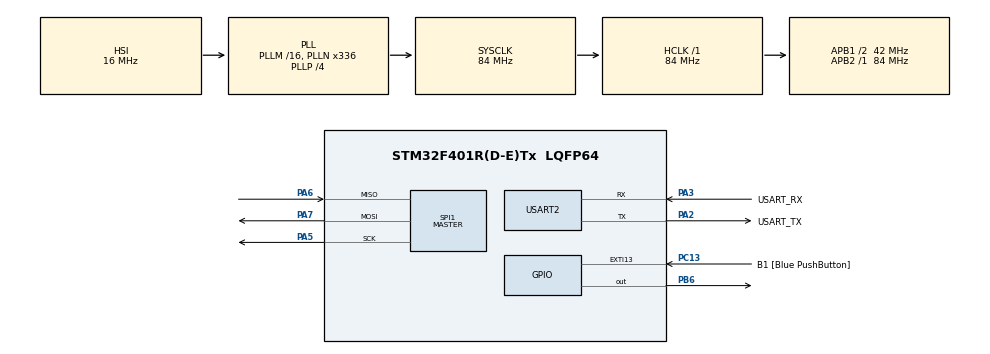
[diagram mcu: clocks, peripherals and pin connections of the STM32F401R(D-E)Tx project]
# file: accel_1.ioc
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Mcu.Family=STM32F4
Mcu.Name=STM32F401R(D-E)Tx
Mcu.Package=LQFP64
NVIC.PriorityGroup=NVIC_PRIORITYGROUP_0
PA13.GPIO_Label=TMS
PA13.Mode=Serial_Wire
PA13.Signal=SYS_JTMS-SWDIO
PA14.GPIO_Label=TCK
PA14.Mode=Serial_Wire
PA14.Signal=SYS_JTCK-SWCLK
PA2.GPIO_Label=USART_TX
PA2.GPIO_Mode=GPIO_MODE_AF_PP
PA2.GPIO_PuPd=GPIO_NOPULL
PA2.GPIO_Speed=GPIO_SPEED_FREQ_LOW
PA2.Mode=Asynchronous
PA2.Signal=USART2_TX
PA3.GPIO_Label=USART_RX
PA3.GPIO_Mode=GPIO_MODE_AF_PP
PA3.GPIO_PuPd=GPIO_NOPULL
PA3.GPIO_Speed=GPIO_SPEED_FREQ_LOW
PA3.Mode=Asynchronous
PA3.Signal=USART2_RX
PA5.Mode=Full_Duplex_Master
PA5.Signal=SPI1_SCK
PA6.Mode=Full_Duplex_Master
PA6.Signal=SPI1_MISO
PA7.Mode=Full_Duplex_Master
PA7.Signal=SPI1_MOSI
PB3.GPIO_Label=SWO
PB3.Signal=SYS_JTDO-SWO
PB6.PinState=GPIO_PIN_SET
PB6.Signal=GPIO_Output
PC13-ANTI_TAMP.GPIO_Label=B1 [Blue PushButton]
PC13-ANTI_TAMP.GPIO_ModeDefaultEXTI=GPIO_MODE_IT_FALLING
PC13-ANTI_TAMP.GPIO_PuPd=GPIO_NOPULL
PC13-ANTI_TAMP.Signal=GPXTI13
PC14-OSC32_IN.Mode=LSE-External-Oscillator
PC14-OSC32_IN.Signal=RCC_OSC32_IN
PC15-OSC32_OUT.Mode=LSE-External-Oscillator
PC15-OSC32_OUT.Signal=RCC_OSC32_OUT
PH0\ -\ OSC_IN.Mode=HSE-External-Clock-Source
PH0\ -\ OSC_IN.Signal=RCC_OSC_IN
PH1\ -\ OSC_OUT.Mode=HSE-External-Clock-Source
PH1\ -\ OSC_OUT.Signal=RCC_OSC_OUT
ProjectManager.HeapSize=0x200
ProjectManager.StackSize=0x400
ProjectManager.TargetToolchain=STM32CubeIDE
RCC.48MHZClocksFreq_Value=48000000
RCC.AHBFreq_Value=84000000
RCC.APB1CLKDivider=RCC_HCLK_DIV2
RCC.APB1Freq_Value=42000000
RCC.APB1TimFreq_Value=84000000
RCC.APB2Freq_Value=84000000
RCC.APB2TimFreq_Value=84000000
RCC.CortexFreq_Value=84000000
RCC.HCLKFreq_Value=84000000
RCC.HSE_VALUE=8000000
RCC.HSI_VALUE=16000000
RCC.PLLN=336
RCC.PLLP=RCC_PLLP_DIV4
RCC.PLLQ=7
RCC.SYSCLKFreq_VALUE=84000000
RCC.SYSCLKSource=RCC_SYSCLKSOURCE_PLLCLK
RCC.VCOOutputFreq_Value=336000000
SPI1.BaudRatePrescaler=SPI_BAUDRATEPRESCALER_16
SPI1.CLKPhase=SPI_PHASE_2EDGE
SPI1.CLKPolarity=SPI_POLARITY_HIGH
SPI1.DataSize=SPI_DATASIZE_8BIT
SPI1.Direction=SPI_DIRECTION_2LINES
SPI1.Mode=SPI_MODE_MASTER
SPI1.VirtualType=VM_MASTER
USART2.VirtualMode=VM_ASYNC
board=NUCLEO-F401RE

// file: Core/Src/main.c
/* USER CODE BEGIN Header */
/**
  ******************************************************************************
  * @file           : main.c
  * @brief          : Main program body
  ******************************************************************************
  * @attention
  *
  * Copyright (c) 2022 STMicroelectronics.
  * All rights reserved.
  *
  * This software is licensed under terms that can be found in the LICENSE file
  * in the root directory of this software component.
  * If no LICENSE file comes with this software, it is provided AS-IS.
  *
  ******************************************************************************
  */
#include<stdio.h>
#define READ_REGISTER 0x80
/* USER CODE END Header */
#include "main.h"

SPI_HandleTypeDef hspi1;

UART_HandleTypeDef huart2;

void SystemClock_Config(void);
static void MX_GPIO_Init(void);
static void MX_USART2_UART_Init(void);
static void MX_SPI1_Init(void);

int main(void)
{
  /* USER CODE BEGIN 1 */
	char uart_buf[50];
	int uart_buf_len;
	char spi_buf[20];
  /* USER CODE END 1 */

  /* MCU Configuration--------------------------------------------------------*/

  /* Reset of all peripherals, Initializes the Flash interface and the Systick. */
  HAL_Init();

  /* Configure the system clock */
  SystemClock_Config();

  /* Initialize all configured peripherals */
  MX_GPIO_Init();
  MX_USART2_UART_Init();
  MX_SPI1_Init();

  /* Infinite loop */
  /* USER CODE BEGIN WHILE */
  uint8_t result;
  uint8_t address = 0x00 + READ_REGISTER;
  uint8_t count = 1000;
  while (count>0)
    {
	  HAL_GPIO_WritePin(GPIOB, GPIO_PIN_6, GPIO_PIN_RESET);
	  HAL_SPI_Transmit(&hspi1, &address, 1, 100);
	  //HAL_Delay (100);
	  HAL_SPI_Receive(&hspi1, (uint8_t *)spi_buf, 1, 100);
	  //HAL_Delay (100);
	  HAL_GPIO_WritePin(GPIOB, GPIO_PIN_6, GPIO_PIN_SET);
	  uart_buf_len = sprintf(uart_buf,
							  "Status: 0x%x\r\n",
							  (unsigned int)spi_buf[0]);
	  HAL_UART_Transmit(&huart2, (uint8_t *)uart_buf, uart_buf_len, 100);
	  count--;
    /* USER CODE END WHILE */

    }
}

void SystemClock_Config(void)
{
  RCC_OscInitTypeDef RCC_OscInitStruct = {0};
  RCC_ClkInitTypeDef RCC_ClkInitStruct = {0};

  /** Configure the main internal regulator output voltage
  */
  __HAL_RCC_PWR_CLK_ENABLE();
  __HAL_PWR_VOLTAGESCALING_CONFIG(PWR_REGULATOR_VOLTAGE_SCALE2);
  /** Initializes the RCC Oscillators according to the specified parameters
  * in the RCC_OscInitTypeDef structure.
  */
  RCC_OscInitStruct.OscillatorType = RCC_OSCILLATORTYPE_HSI;
  RCC_OscInitStruct.HSIState = RCC_HSI_ON;
  RCC_OscInitStruct.HSICalibrationValue = RCC_HSICALIBRATION_DEFAULT;
  RCC_OscInitStruct.PLL.PLLState = RCC_PLL_ON;
  RCC_OscInitStruct.PLL.PLLSource = RCC_PLLSOURCE_HSI;
  RCC_OscInitStruct.PLL.PLLM = 16;
  RCC_OscInitStruct.PLL.PLLN = 336;
  RCC_OscInitStruct.PLL.PLLP = RCC_PLLP_DIV4;
  RCC_OscInitStruct.PLL.PLLQ = 7;
  if (HAL_RCC_OscConfig(&RCC_OscInitStruct) != HAL_OK)
  {
    Error_Handler();
  }
  /** Initializes the CPU, AHB and APB buses clocks
  */
  RCC_ClkInitStruct.ClockType = RCC_CLOCKTYPE_HCLK|RCC_CLOCKTYPE_SYSCLK
                              |RCC_CLOCKTYPE_PCLK1|RCC_CLOCKTYPE_PCLK2;
  RCC_ClkInitStruct.SYSCLKSource = RCC_SYSCLKSOURCE_PLLCLK;
  RCC_ClkInitStruct.AHBCLKDivider = RCC_SYSCLK_DIV1;
  RCC_ClkInitStruct.APB1CLKDivider = RCC_HCLK_DIV2;
  RCC_ClkInitStruct.APB2CLKDivider = RCC_HCLK_DIV1;

  if (HAL_RCC_ClockConfig(&RCC_ClkInitStruct, FLASH_LATENCY_2) != HAL_OK)
  {
    Error_Handler();
  }
}

static void MX_SPI1_Init(void)
{

  /* SPI1 parameter configuration*/
  hspi1.Instance = SPI1;
  hspi1.Init.Mode = SPI_MODE_MASTER;
  hspi1.Init.Direction = SPI_DIRECTION_2LINES;
  hspi1.Init.DataSize = SPI_DATASIZE_8BIT;
  hspi1.Init.CLKPolarity = SPI_POLARITY_HIGH;
  hspi1.Init.CLKPhase = SPI_PHASE_2EDGE;
  hspi1.Init.NSS = SPI_NSS_SOFT;
  hspi1.Init.BaudRatePrescaler = SPI_BAUDRATEPRESCALER_16;
  hspi1.Init.FirstBit = SPI_FIRSTBIT_MSB;
  hspi1.Init.TIMode = SPI_TIMODE_DISABLE;
  hspi1.Init.CRCCalculation = SPI_CRCCALCULATION_DISABLE;
  hspi1.Init.CRCPolynomial = 10;
  if (HAL_SPI_Init(&hspi1) != HAL_OK)
  {
    Error_Handler();
  }

}

static void MX_USART2_UART_Init(void)
{

  huart2.Instance = USART2;
  huart2.Init.BaudRate = 115200;
  huart2.Init.WordLength = UART_WORDLENGTH_8B;
  huart2.Init.StopBits = UART_STOPBITS_1;
  huart2.Init.Parity = UART_PARITY_NONE;
  huart2.Init.Mode = UART_MODE_TX_RX;
  huart2.Init.HwFlowCtl = UART_HWCONTROL_NONE;
  huart2.Init.OverSampling = UART_OVERSAMPLING_16;
  if (HAL_UART_Init(&huart2) != HAL_OK)
  {
    Error_Handler();
  }

}

static void MX_GPIO_Init(void)
{
  GPIO_InitTypeDef GPIO_InitStruct = {0};

  /* GPIO Ports Clock Enable */
  __HAL_RCC_GPIOC_CLK_ENABLE();
  __HAL_RCC_GPIOH_CLK_ENABLE();
  __HAL_RCC_GPIOA_CLK_ENABLE();
  __HAL_RCC_GPIOB_CLK_ENABLE();

  /*Configure GPIO pin Output Level */
  HAL_GPIO_WritePin(GPIOB, GPIO_PIN_6, GPIO_PIN_SET);

  /*Configure GPIO pin : B1_Pin */
  GPIO_InitStruct.Pin = B1_Pin;
  GPIO_InitStruct.Mode = GPIO_MODE_IT_FALLING;
  GPIO_InitStruct.Pull = GPIO_NOPULL;
  HAL_GPIO_Init(B1_GPIO_Port, &GPIO_InitStruct);

  /*Configure GPIO pin : PB6 */
  GPIO_InitStruct.Pin = GPIO_PIN_6;
  GPIO_InitStruct.Mode = GPIO_MODE_OUTPUT_PP;
  GPIO_InitStruct.Pull = GPIO_NOPULL;
  GPIO_InitStruct.Speed = GPIO_SPEED_FREQ_LOW;
  HAL_GPIO_Init(GPIOB, &GPIO_InitStruct);

}

void Error_Handler(void)
{
  __disable_irq();
  while (1)
  {
  }
}
